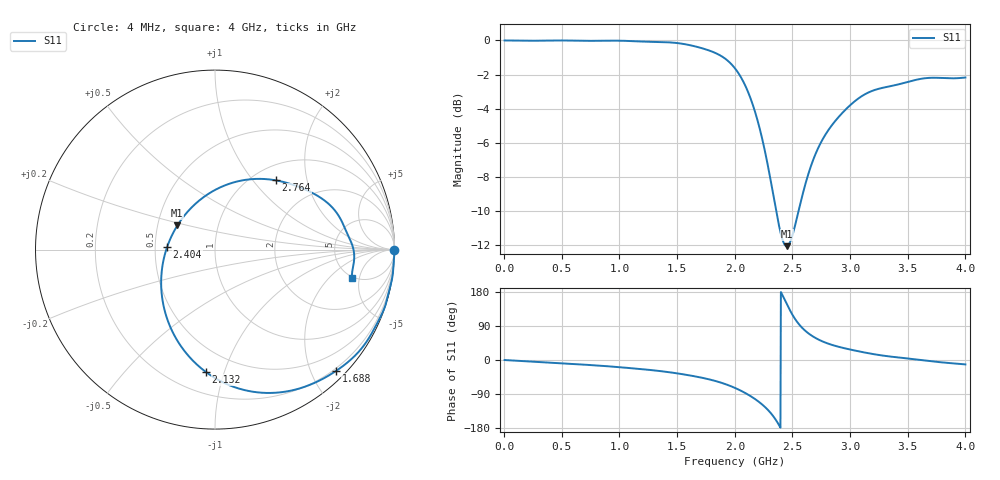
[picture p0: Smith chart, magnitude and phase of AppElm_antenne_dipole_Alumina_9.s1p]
! TOUCHSTONE file generated by CST MICROWAVE STUDIO
! Date and time: Sat May 14 11:21:43 2022
! Project name: AppElm_antenne_dipole_Alumina.cst
! Parameters = {L=33; e=0.035; f=2.45e+09; h=1.6; i=0.8; l1=2; lambda=122.449; ls=30; wl=1.7; ws=92}
! Header version: 2018
! Port assignment regex: !\s*Touchstone port\s*([0-9]+)\s*=\s*(CST MWS port|CST DS port)\s*([0-9]+|Zmin|Zmax)\s*\(\"(.*)\"\)(\s*mode\s*([0-9]+))?.*
! Touchstone port assignment:
! Touchstone port 1 = CST MWS port 1 ("")
# GHz S MA R 50
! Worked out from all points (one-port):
!   1000 points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, 4 MHz to 4 GHz, reference 50 ohm
!   lowest |S11| = -12.1 dB at 2.452 GHz (marker M1), VSWR 1.66, Z = 31.7 + j9.07 ohm
!   |S11| at or under -10 dB: 2.359 GHz to 2.554 GHz (194.8 MHz wide, 7.93 % of centre)
!   S11 on the Smith chart (normalised r, x): 4 MHz: open; 1.688 GHz: 0.16, -2.40; 2.132 GHz: 0.34, -0.87; 2.404 GHz: 0.58, +0.02; 2.764 GHz: 1.26, +1.32; 4 GHz: 4.87, -3.87
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0.004  1 -0.1
0.504  0.9999 -8.7
1.004  0.9983 -19.1
1.316  0.9901 -27.9
1.504  0.9823 -35.4
1.688  0.9546 -45.1
1.776  0.9348 -51.0
1.856  0.9106 -57.5
1.936  0.8738 -65.6
2.004  0.8264 -74.0
2.068  0.764 -83.4
2.132  0.683 -94.4
2.208  0.5651 -110.2
2.276  0.4482 -128.2
2.34  0.343 -150.9
2.404  0.2672 176.9
2.452  0.249 147.3
2.504  0.2708 117.4
2.56  0.3229 93.1
2.62  0.3869 74.9
2.684  0.4498 61.0
2.764  0.514 48.6
2.868  0.5785 37.6
3.004  0.6471 27.4
3.204  0.7138 15.4
3.504  0.7561 3.9
3.684  0.7765 -2.6
4  0.7784 -11.6
